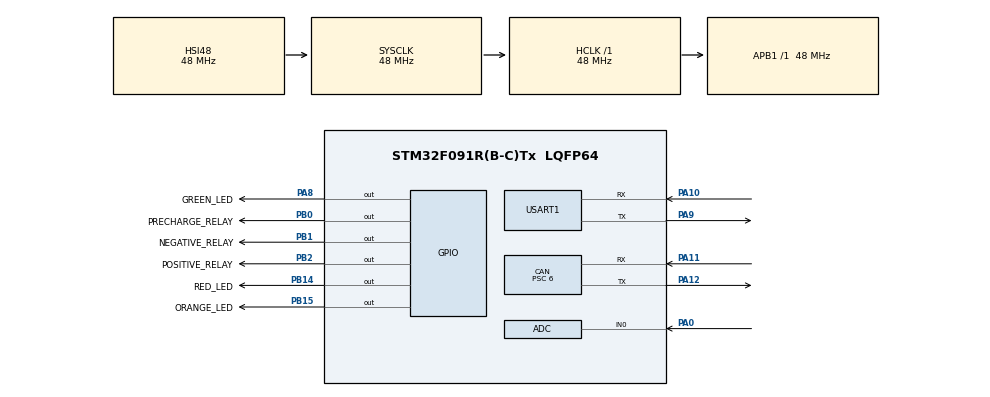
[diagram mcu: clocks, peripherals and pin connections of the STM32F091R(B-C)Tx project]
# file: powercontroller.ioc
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ADC.ClockPrescaler=ADC_CLOCK_SYNC_PCLK_DIV4
ADC.ContinuousConvMode=ENABLE
ADC.DMAContinuousRequests=DISABLE
ADC.DataAlign=ADC_DATAALIGN_RIGHT
ADC.DiscontinuousConvMode=DISABLE
ADC.EOCSelection=ADC_EOC_SINGLE_CONV
ADC.EnableAnalogWatchDog=false
ADC.ExternalTrigConv=ADC_SOFTWARE_START
ADC.ExternalTrigConvEdge=ADC_EXTERNALTRIGCONVEDGE_NONE
ADC.LowPowerAutoPowerOff=DISABLE
ADC.LowPowerAutoWait=DISABLE
ADC.Overrun=ADC_OVR_DATA_PRESERVED
ADC.Resolution=ADC_RESOLUTION_12B
ADC.SamplingTime=ADC_SAMPLETIME_239CYCLES_5
ADC.ScanConvMode=ADC_SCAN_DIRECTION_FORWARD
CAN.ABOM=ENABLE
CAN.AWUM=ENABLE
CAN.BS1=CAN_BS1_13TQ
CAN.BS2=CAN_BS2_2TQ
CAN.CalculateTimeBit=1000
CAN.CalculateTimeQuantum=125.0
CAN.Prescaler=6
Mcu.Family=STM32F0
Mcu.Name=STM32F091R(B-C)Tx
Mcu.Package=LQFP64
NVIC.ADC1_COMP_IRQn=true\:0\:0\:true\:false\:true\:true
NVIC.CEC_CAN_IRQn=true\:0\:0\:false\:false\:true\:true
NVIC.RCC_CRS_IRQn=true\:0\:0\:false\:false\:true\:true
NVIC.USART1_IRQn=true\:0\:0\:false\:false\:true\:true
PA0.Mode=IN0
PA0.Signal=ADC_IN0
PA10.Mode=Asynchronous
PA10.Signal=USART1_RX
PA11.Mode=Master
PA11.Signal=CAN_RX
PA12.Mode=Master
PA12.Signal=CAN_TX
PA13.Mode=Serial_Wire
PA13.Signal=SYS_SWDIO
PA14.Mode=Serial_Wire
PA14.Signal=SYS_SWCLK
PA8.GPIO_Label=GREEN_LED
PA8.Signal=GPIO_Output
PA9.Mode=Asynchronous
PA9.Signal=USART1_TX
PB0.GPIO_Label=PRECHARGE_RELAY
PB0.Signal=GPIO_Output
PB1.GPIO_Label=NEGATIVE_RELAY
PB1.Signal=GPIO_Output
PB14.GPIO_Label=RED_LED
PB14.Signal=GPIO_Output
PB15.GPIO_Label=ORANGE_LED
PB15.Signal=GPIO_Output
PB2.GPIO_Label=POSITIVE_RELAY
PB2.Signal=GPIO_Output
ProjectManager.HeapSize=0x200
ProjectManager.StackSize=0x400
ProjectManager.TargetToolchain=SW4STM32
RCC.AHBFreq_Value=48000000
RCC.APB1Freq_Value=48000000
RCC.APB1TimFreq_Value=48000000
RCC.HCLKFreq_Value=48000000
RCC.PLLDivider=RCC_PREDIV_DIV2
RCC.PLLSourceVirtual=RCC_PLLSOURCE_HSI48
RCC.SYSCLKFreq_VALUE=48000000
RCC.SYSCLKSource=RCC_SYSCLKSOURCE_HSI48
USART1.VirtualMode-Asynchronous=VM_ASYNC
USART1.WordLength=WORDLENGTH_8B
board=powercontroller

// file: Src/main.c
/**
  ******************************************************************************
  * @file           : main.c
  * @brief          : Main program body
  ******************************************************************************
  ** This notice applies to any and all portions of this file
  * that are not between comment pairs USER CODE BEGIN and
  * USER CODE END. Other portions of this file, whether
  * inserted by the user or by software development tools
  * are owned by their respective copyright owners.
  *
  * COPYRIGHT(c) 2019 STMicroelectronics
  *
  * Redistribution and use in source and binary forms, with or without modification,
  * are permitted provided that the following conditions are met:
  *   1. Redistributions of source code must retain the above copyright notice,
  *      this list of conditions and the following disclaimer.
  *   2. Redistributions in binary form must reproduce the above copyright notice,
  *      this list of conditions and the following disclaimer in the documentation
  *      and/or other materials provided with the distribution.
  *   3. Neither the name of STMicroelectronics nor the names of its contributors
  *      may be used to endorse or promote products derived from this software
  *      without specific prior written permission.
  *
  * THIS SOFTWARE IS PROVIDED BY THE COPYRIGHT HOLDERS AND CONTRIBUTORS "AS IS"
  * AND ANY EXPRESS OR IMPLIED WARRANTIES, INCLUDING, BUT NOT LIMITED TO, THE
  * IMPLIED WARRANTIES OF MERCHANTABILITY AND FITNESS FOR A PARTICULAR PURPOSE ARE
  * DISCLAIMED. IN NO EVENT SHALL THE COPYRIGHT HOLDER OR CONTRIBUTORS BE LIABLE
  * FOR ANY DIRECT, INDIRECT, INCIDENTAL, SPECIAL, EXEMPLARY, OR CONSEQUENTIAL
  * DAMAGES (INCLUDING, BUT NOT LIMITED TO, PROCUREMENT OF SUBSTITUTE GOODS OR
  * SERVICES; LOSS OF USE, DATA, OR PROFITS; OR BUSINESS INTERRUPTION) HOWEVER
  * CAUSED AND ON ANY THEORY OF LIABILITY, WHETHER IN CONTRACT, STRICT LIABILITY,
  * OR TORT (INCLUDING NEGLIGENCE OR OTHERWISE) ARISING IN ANY WAY OUT OF THE USE
  * OF THIS SOFTWARE, EVEN IF ADVISED OF THE POSSIBILITY OF SUCH DAMAGE.
  *
  ******************************************************************************
  */
#include "main.h"
#include "stm32f0xx_hal.h"
#include "adc.h"
#include "can.h"
#include "usart.h"
#include "gpio.h"

/* USER CODE BEGIN Includes */

#include <math.h>
#include <stdint.h>
#include "printf.h"
#include <string.h>

/* USER CODE END Includes */

/* USER CODE BEGIN PV */
/* Private variables ---------------------------------------------------------*/

volatile uint16_t ADC_RAW = 0;
volatile float DCBUS_VOLTAGE = 0;

enum PowerState {
	PWR_ERROR = -1,
	PWR_OFF,
	PWR_OFF_REQUEST,
	PWR_PRECHARGE,
	PWR_ON,
	PWR_ON_REQUEST
};

uint8_t state = PWR_OFF;

uint8_t c = 'A';

uint8_t EndOfLine = 0;

uint8_t RXBuffer[BUFFER_LENGTH];

uint8_t BufferPos = 0;

uint16_t SystickCounter = 0;

/* USER CODE END PV */

void SystemClock_Config(void);

/* USER CODE BEGIN PFP */
/* Private function prototypes -----------------------------------------------*/

void UART_putc(void* p, char c);
void PowerOn_Safe();
void PowerOn_Unsafe();
void PowerOff();

/* USER CODE END PFP */

int main(void)
{

  /* MCU Configuration----------------------------------------------------------*/

  /* Reset of all peripherals, Initializes the Flash interface and the Systick. */
  HAL_Init();

  /* Configure the system clock */
  SystemClock_Config();

  /* Initialize all configured peripherals */
  MX_GPIO_Init();
  MX_USART1_UART_Init();
  MX_CAN_Init();
  MX_ADC_Init();
  /* USER CODE BEGIN 2 */

  //This magic makes CAN bus work when debugging, apparently
  hcan.Instance->MCR = 0x60;

  HAL_GPIO_WritePin(GREEN_LED_GPIO_Port, GREEN_LED_Pin, GPIO_PIN_SET);
  HAL_Delay(1000);
  HAL_GPIO_WritePin(GREEN_LED_GPIO_Port, GREEN_LED_Pin, GPIO_PIN_RESET);

  //Initialise printf
  init_printf(NULL, UART_putc);

  //Allocate some empty memory for UART
  memset(RXBuffer, 0, BUFFER_LENGTH);

  //Start various bits
  HAL_ADC_Start_IT(&hadc);
  HAL_UART_Receive_IT(&huart1, (uint8_t *)&c, 1);
  HAL_CAN_Receive_IT(&hcan, CAN_FIFO0);

  /* USER CODE END 2 */

  /* Infinite loop */
  /* USER CODE BEGIN WHILE */

  DBG_PRINTF("Started\r\n");

  while (1)
  {

  /* USER CODE END WHILE */

  /* USER CODE BEGIN 3 */

	  /*
	  HAL_GPIO_WritePin(PRECHARGE_RELAY_GPIO_Port, PRECHARGE_RELAY_Pin, GPIO_PIN_SET);
	  HAL_Delay(1000);
	  HAL_GPIO_WritePin(PRECHARGE_RELAY_GPIO_Port, PRECHARGE_RELAY_Pin, GPIO_PIN_RESET);
	  HAL_Delay(1000);
	  */

	  if(EndOfLine)
	  {
		  EndOfLine = 0;
		  BufferPos = 0;
		  switch (RXBuffer[0])
		  {
		  case 'i':
			  if(state == PWR_ON)
			  {
				  DBG_PRINTF("Already powered on\r\n");

			  } else {
				  state = PWR_ON_REQUEST;
			  }
			  break;

		  case 'o':
			  state = PWR_OFF_REQUEST;
			  break;

		  case 'u':
			  PowerOn_Unsafe();
			  break;

		  case 'r':
			  state = PWR_OFF;
			  HAL_GPIO_WritePin(RED_LED_GPIO_Port, RED_LED_Pin, GPIO_PIN_RESET);
			  break;

		  case '?':
			  DBG_PRINTF("DC Bus voltage: %dV. State: %d\r\n", (uint8_t)DCBUS_VOLTAGE, state);
			  break;

		  default:
			  DBG_PRINTF("Invalid command. 'i' for safe power on, 'o' for power off, 'u' for unsafe power on, 'r' to reset error, '?' to request status report\r\n");
			  break;
		  }

		  memset(RXBuffer, 0, BUFFER_LENGTH);
	  }

	  if(DCBUS_VOLTAGE < NOMINAL_VOLTAGE - (NOMINAL_VOLTAGE * NOMINAL_VOLTAGE_TOLERANCE) && state == PWR_ON)
	  {
		  state = PWR_OFF_REQUEST;
		  DBG_PRINTF("DC Bus voltage error! Current voltage: %dV\r\n", (uint8_t)DCBUS_VOLTAGE);
		  HAL_GPIO_WritePin(RED_LED_GPIO_Port, RED_LED_Pin, GPIO_PIN_SET);
	  }

	  switch (state)
	  {
	  case PWR_ON_REQUEST:
		  PowerOn_Safe();
		  break;

	  case PWR_OFF_REQUEST:
		  PowerOff();
		  break;
	  }

  }

  /* USER CODE END 3 */

}

void SystemClock_Config(void)
{

  RCC_OscInitTypeDef RCC_OscInitStruct;
  RCC_ClkInitTypeDef RCC_ClkInitStruct;
  RCC_PeriphCLKInitTypeDef PeriphClkInit;

    /**Initializes the CPU, AHB and APB busses clocks
    */
  RCC_OscInitStruct.OscillatorType = RCC_OSCILLATORTYPE_HSI48;
  RCC_OscInitStruct.HSI48State = RCC_HSI48_ON;
  RCC_OscInitStruct.PLL.PLLState = RCC_PLL_NONE;
  if (HAL_RCC_OscConfig(&RCC_OscInitStruct) != HAL_OK)
  {
    _Error_Handler(__FILE__, __LINE__);
  }

    /**Initializes the CPU, AHB and APB busses clocks
    */
  RCC_ClkInitStruct.ClockType = RCC_CLOCKTYPE_HCLK|RCC_CLOCKTYPE_SYSCLK
                              |RCC_CLOCKTYPE_PCLK1;
  RCC_ClkInitStruct.SYSCLKSource = RCC_SYSCLKSOURCE_HSI48;
  RCC_ClkInitStruct.AHBCLKDivider = RCC_SYSCLK_DIV1;
  RCC_ClkInitStruct.APB1CLKDivider = RCC_HCLK_DIV1;

  if (HAL_RCC_ClockConfig(&RCC_ClkInitStruct, FLASH_LATENCY_1) != HAL_OK)
  {
    _Error_Handler(__FILE__, __LINE__);
  }

  PeriphClkInit.PeriphClockSelection = RCC_PERIPHCLK_USART1;
  PeriphClkInit.Usart1ClockSelection = RCC_USART1CLKSOURCE_PCLK1;
  if (HAL_RCCEx_PeriphCLKConfig(&PeriphClkInit) != HAL_OK)
  {
    _Error_Handler(__FILE__, __LINE__);
  }

    /**Configure the Systick interrupt time
    */
  HAL_SYSTICK_Config(HAL_RCC_GetHCLKFreq()/1000);

    /**Configure the Systick
    */
  HAL_SYSTICK_CLKSourceConfig(SYSTICK_CLKSOURCE_HCLK);

  /* SysTick_IRQn interrupt configuration */
  HAL_NVIC_SetPriority(SysTick_IRQn, 0, 0);
}

/* USER CODE BEGIN 4 */

void PowerOn_Safe()
{
	if(state == PWR_ON_REQUEST)
	{
		uint32_t startTick = HAL_GetTick();
		DBG_PRINTF("Requested safe power on\r\n");
		state = PWR_PRECHARGE;

		HAL_GPIO_WritePin(ORANGE_LED_GPIO_Port, ORANGE_LED_Pin, GPIO_PIN_SET);
		HAL_GPIO_WritePin(RED_LED_GPIO_Port, RED_LED_Pin, GPIO_PIN_RESET);
		HAL_GPIO_WritePin(NEGATIVE_RELAY_GPIO_Port, NEGATIVE_RELAY_Pin, GPIO_PIN_SET);
		HAL_Delay(RELAY_DELAY);
		HAL_GPIO_WritePin(PRECHARGE_RELAY_GPIO_Port, PRECHARGE_RELAY_Pin, GPIO_PIN_SET);
		HAL_Delay(RELAY_DELAY);

		while(DCBUS_VOLTAGE < NOMINAL_VOLTAGE - (NOMINAL_VOLTAGE * NOMINAL_VOLTAGE_TOLERANCE))
		{
			//Do nothing besides check the timeout
			if(HAL_GetTick() > startTick + PRECHARGE_TIMEOUT)
			{
				HAL_GPIO_WritePin(ORANGE_LED_GPIO_Port, ORANGE_LED_Pin, GPIO_PIN_RESET);
				HAL_GPIO_WritePin(RED_LED_GPIO_Port, RED_LED_Pin, GPIO_PIN_SET);
				HAL_GPIO_WritePin(PRECHARGE_RELAY_GPIO_Port, PRECHARGE_RELAY_Pin, GPIO_PIN_RESET);
				HAL_Delay(RELAY_DELAY);
				HAL_GPIO_WritePin(NEGATIVE_RELAY_GPIO_Port, NEGATIVE_RELAY_Pin, GPIO_PIN_RESET);
				DBG_PRINTF("Precharge failed in specified timeout!\r\n");
				state = PWR_ERROR;
				break;
			}
		}

		if(DCBUS_VOLTAGE > NOMINAL_VOLTAGE - (NOMINAL_VOLTAGE * NOMINAL_VOLTAGE_TOLERANCE))
		{
			HAL_GPIO_WritePin(POSITIVE_RELAY_GPIO_Port, POSITIVE_RELAY_Pin, GPIO_PIN_SET);
			HAL_Delay(RELAY_DELAY);
			HAL_GPIO_WritePin(PRECHARGE_RELAY_GPIO_Port, PRECHARGE_RELAY_Pin, GPIO_PIN_RESET);
			HAL_GPIO_WritePin(ORANGE_LED_GPIO_Port, ORANGE_LED_Pin, GPIO_PIN_RESET);
			HAL_GPIO_WritePin(GREEN_LED_GPIO_Port, GREEN_LED_Pin, GPIO_PIN_SET);
			DBG_PRINTF("Precharge done in %d ticks. DC Bus voltage: %dV\r\n", (uint8_t)(HAL_GetTick() - startTick), (uint8_t)DCBUS_VOLTAGE);
			state = PWR_ON;
		} else {

		}
	} else {
		DBG_PRINTF("State not off! Current state: %d\r\n", state);
	}
}

void PowerOn_Unsafe()
{
	if(state == PWR_OFF)
	{
		DBG_PRINTF("Requested unsafe power on\r\n");
		HAL_GPIO_WritePin(NEGATIVE_RELAY_GPIO_Port, NEGATIVE_RELAY_Pin, GPIO_PIN_SET);
		HAL_Delay(RELAY_DELAY);
		HAL_GPIO_WritePin(POSITIVE_RELAY_GPIO_Port, POSITIVE_RELAY_Pin, GPIO_PIN_SET);
		HAL_GPIO_WritePin(GREEN_LED_GPIO_Port, GREEN_LED_Pin, GPIO_PIN_SET);
		DBG_PRINTF("Unsafe power on complete\r\n");
		state = PWR_ON;
	} else {
		DBG_PRINTF("State not off! Current state: %d\r\n", state);
	}
}

void PowerOff()
{
	/*
	if(state == PWR_PRECHARGE)
	{
		DBG_PRINTF("Requested precharge abort! DC Bus voltage: %dV\r\n", (uint8_t)DCBUS_VOLTAGE);
		HAL_GPIO_WritePin(PRECHARGE_RELAY_GPIO_Port, PRECHARGE_RELAY_Pin, GPIO_PIN_RESET);
		HAL_Delay(RELAY_DELAY);
		HAL_GPIO_WritePin(NEGATIVE_RELAY_GPIO_Port, NEGATIVE_RELAY_Pin, GPIO_PIN_RESET);
		DBG_PRINTF("Precharge abort complete\r\n");
		state = PWR_OFF;
	} else {
		DBG_PRINTF("State not off! Current state: %d\r\n", state);
	}
	*/

	if(state == PWR_OFF_REQUEST)
	{
		DBG_PRINTF("Requested power off. DC Bus voltage: %dV\r\n", (uint8_t)DCBUS_VOLTAGE);
		HAL_GPIO_WritePin(PRECHARGE_RELAY_GPIO_Port, PRECHARGE_RELAY_Pin, GPIO_PIN_RESET);
		HAL_Delay(RELAY_DELAY);
		HAL_GPIO_WritePin(POSITIVE_RELAY_GPIO_Port, POSITIVE_RELAY_Pin, GPIO_PIN_RESET);
		HAL_Delay(RELAY_DELAY);
		HAL_GPIO_WritePin(NEGATIVE_RELAY_GPIO_Port, NEGATIVE_RELAY_Pin, GPIO_PIN_RESET);
		HAL_GPIO_WritePin(GREEN_LED_GPIO_Port, GREEN_LED_Pin, GPIO_PIN_RESET);
		DBG_PRINTF("Power off complete\r\n");
		state = PWR_OFF;
	} else {
		DBG_PRINTF("State not off! Current state: %d\r\n", state);
	}
}

void HAL_ADC_ConvCpltCallback(ADC_HandleTypeDef* hadc)
{

	//Convert ADC reading into DC bus voltage
    ADC_RAW = (float)HAL_ADC_GetValue(hadc);
    DCBUS_VOLTAGE = (ADC_RAW * (3.3 / 4096.0)) / 0.04347826086956521739130434782609; // calculated from R2 / (R1 + R2)
}

void HAL_UART_RxCpltCallback(UART_HandleTypeDef *UartHandle)
{

    HAL_UART_Receive_IT(&huart1, &c, 1);
    RXBuffer[BufferPos++] = c;

    if(c == '\n' || c == '\r')
    {
        EndOfLine = 1;
        RXBuffer[BufferPos++] = '\0';
    }

}

void HAL_CAN_RxCpltCallback(CAN_HandleTypeDef *CanHandle)
{
	if(CanHandle->pRxMsg->StdId == CAN_ADDRESS && CanHandle->pRxMsg->IDE == CAN_ID_STD && CanHandle->pRxMsg->DLC == 1)
	{
		if(CanHandle->pRxMsg->Data[0] == 1)
		{
			if(state == PWR_ON)
			{
				DBG_PRINTF("CANBUS: Already powered on\r\n");
			} else {
				DBG_PRINTF("CANBUS: Request to power on\r\n");
				state = PWR_ON_REQUEST;
			}
		}

		if(CanHandle->pRxMsg->Data[0] == 0)
		{
			DBG_PRINTF("CANBUS: Request to power off\r\n");
			state = PWR_OFF_REQUEST;
		}
	}

	HAL_CAN_Receive_IT(&hcan, CAN_FIFO0);
}

void ADC_IRQHandler()
{
    HAL_ADC_IRQHandler(&hadc);
}

void UART_putc(void* p, char c)
{
	HAL_UART_Transmit(&huart1, &c, 1, 100);
}

void HAL_SYSTICK_Callback()
{
	if(SystickCounter == 1000)
	{
		SystickCounter = 0;
	}

	if(SystickCounter % 500 == 0)
	{
		if(state != PWR_ON)
		{
			HAL_GPIO_TogglePin(GREEN_LED_GPIO_Port, GREEN_LED_Pin);
		}
	}

	if(SystickCounter % 100 == 0)
	{
		hcan.pTxMsg->Data[0] = (uint8_t)ceil(DCBUS_VOLTAGE);
		hcan.pTxMsg->Data[1] = state;

		if(HAL_CAN_Transmit(&hcan, 10) != HAL_OK)
		{
			Error_Handler();
		}
	}

	SystickCounter++;
}

/* USER CODE END 4 */

void _Error_Handler(char *file, int line)
{
}

#ifdef  USE_FULL_ASSERT
/**
  * @brief  Reports the name of the source file and the source line number
  *         where the assert_param error has occurred.
  * @param  file: pointer to the source file name
  * @param  line: assert_param error line source number
  * @retval None
  */
void assert_failed(uint8_t* file, uint32_t line)
{
  /* USER CODE BEGIN 6 */
  /* User can add his own implementation to report the file name and line number,
     tex: DBG_PRINTF("Wrong parameters value: file %s on line %d\r\n", file, line) */
  /* USER CODE END 6 */
}
#endif /* USE_FULL_ASSERT */

/************************ (C) COPYRIGHT STMicroelectronics *****END OF FILE****/
